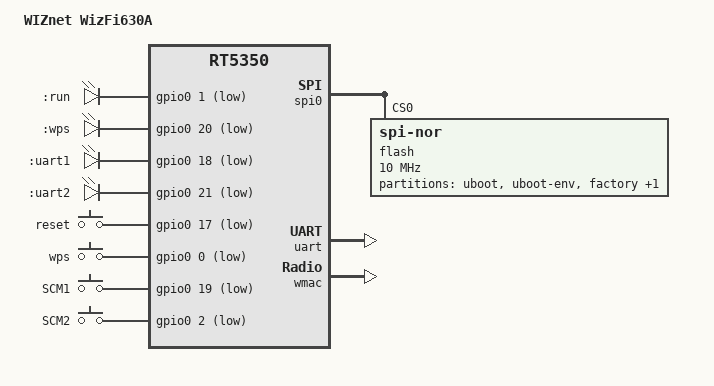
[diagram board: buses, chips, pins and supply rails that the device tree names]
#include "rt5350.dtsi"

#include <dt-bindings/gpio/gpio.h>
#include <dt-bindings/input/input.h>

/ {
	compatible = "wiznet,wizfi630a", "ralink,rt5350-soc";
	model = "WIZnet WizFi630A";

	aliases {
		led-boot = &led_run;
		led-failsafe = &led_run;
		led-running = &led_run;
		led-upgrade = &led_run;
	};

	chosen {
		bootargs = "console=ttyS1,115200";
	};

	leds {
		compatible = "gpio-leds";

		led_run: run {
			label = ":run";
			gpios = <&gpio0 1 GPIO_ACTIVE_LOW>;
		};

		wps {
			label = ":wps";
			gpios = <&gpio0 20 GPIO_ACTIVE_LOW>;
		};

		uart1 {
			label = ":uart1";
			gpios = <&gpio0 18 GPIO_ACTIVE_LOW>;
		};

		uart2 {
			label = ":uart2";
			gpios = <&gpio0 21 GPIO_ACTIVE_LOW>;
		};
	};

	keys {
		compatible = "gpio-keys-polled";
		poll-interval = <20>;

		reset {
			label = "reset";
			gpios = <&gpio0 17 GPIO_ACTIVE_LOW>;
			linux,code = <KEY_RESTART>;
		};

		wps {
			label = "wps";
			gpios = <&gpio0 0 GPIO_ACTIVE_LOW>;
			linux,code = <KEY_WPS_BUTTON>;
		};

		scm1 {
			label = "SCM1";
			gpios = <&gpio0 19 GPIO_ACTIVE_LOW>;
			linux,code = <BTN_0>;
		};

		scm2 {
			label = "SCM2";
			gpios = <&gpio0 2 GPIO_ACTIVE_LOW>;
			linux,code = <BTN_1>;
		};
	};
};

&spi0 {
	status = "okay";

	flash@0 {
		compatible = "jedec,spi-nor";
		reg = <0>;
		spi-max-frequency = <10000000>;

		partitions {
			compatible = "fixed-partitions";
			#address-cells = <1>;
			#size-cells = <1>;

			partition@0 {
				#size-cells = <1>;
				label = "uboot";
				reg = <0x0 0x30000>;
				read-only;
			};

			partition@30000 {
				#size-cells = <1>;
				label = "uboot-env";
				reg = <0x30000 0x10000>;
				read-only;
			};

			factory: partition@40000 {
				#size-cells = <1>;
				label = "factory";
				reg = <0x40000 0x10000>;
				read-only;
			};

			partition@50000 {
				compatible = "denx,uimage";
				#size-cells = <1>;
				label = "firmware";
				reg = <0x50000 0xfb0000>;
			};
		};
	};
};

&uart {
	status = "okay";
	pinctrl-names = "default";
	pinctrl-0 = <&uartf_pins>;
};

&state_default {
	gpio {
		groups = "i2c", "jtag" ;
		function = "gpio";
	};
};

&ethernet {
	mtd-mac-address = <&factory 0x4>;
};

&esw {
	mediatek,portmap = <0x17>;
};

&wmac {
	ralink,mtd-eeprom = <&factory 0x0>;
};
